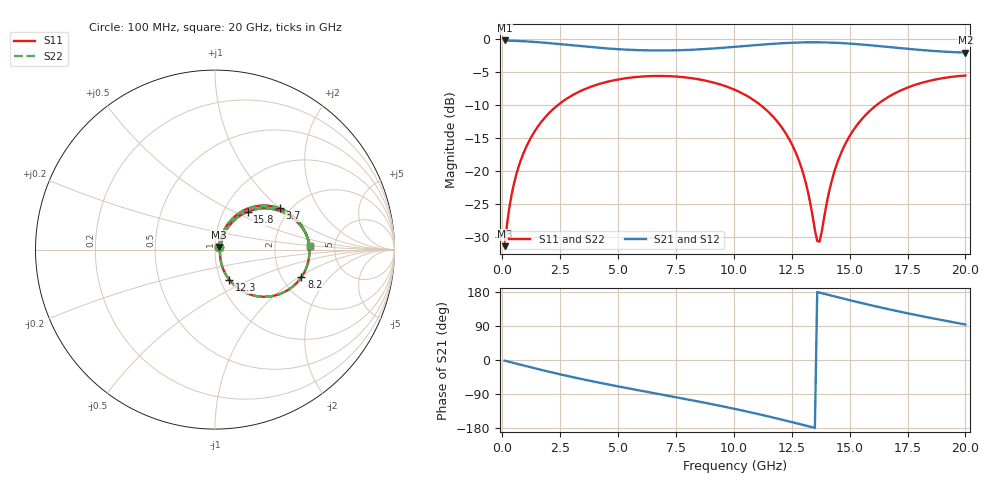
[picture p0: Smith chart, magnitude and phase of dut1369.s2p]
! Touchstone file exported from HFSS 2026.1.0
!  File:  C:/ffzhzh/LocalFiles/Ansys_Project_Files/temp_train_TSV_RDL_1369_1783345591_48288.aedt
!  Generated:  09:59:05 PM Jul  6, 2026
!  Design:  TSV_RDL
!  Project:  temp_train_TSV_RDL_1369_1783345591_48288
! Variables:
!  h_bsmrdl = 4.9um
!  h_ox = 20um
!  h_rdl = 5um
!  h_sub = 53.21um
!  h_tmrdl = 3.08um
!  h_tsv = 53.21um
!  h_via = 3um
!  l_bsmrdl = 890.9um
!  l_sub = 4665.05um
!  l_tmrdl = 369.61um
!  m_sub = 200um
!  pitch = 41.95um
!  r_tsv = 11.94um
!  s_tmrdl = 10um
!  w_bsmrdl = 14um
!  w_sub = 500um
!  w_tmrdl = 23.97um
!  x_tsv_center1 = 381.595um
!  x_tsv_center2 = 1286.495um
!  x_tsv_center3 = 1680.075um
!  x_tsv_center4 = 2584.975um
!  x_tsv_center5 = 2978.555um
!  x_tsv_center6 = 3883.455um
# GHz S MA R 50.000000
! Terminal data exported
! Port[1] = TM_RDL1_1_T1
! Port[2] = TM_RDL5_1_T1
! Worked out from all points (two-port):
!   200 points, 100 MHz to 20 GHz, reference 50 ohm
!   highest |S21| = -0.19 dB at 100 MHz (marker M1); lowest = -2.0 dB at 20 GHz (marker M2)
!   |S21| within 3 dB of the highest: start of sweep to end of sweep
!   lowest |S11| = -31.4 dB at 100 MHz (marker M3), VSWR 1.06, Z = 52.2 + j1.61 ohm
!   |S11| at or under -10 dB: start of sweep to 2.398 GHz; 11.16 GHz to 16.16 GHz (5.007 GHz wide, 36.7 % of centre)
!   |S22| runs from -31.4 to -5.5 dB; largest |S21 - S12| = 1.7e-14
!   S11 on the Smith chart (normalised r, x): 100 MHz: 1.04, +0.03; 3.7 GHz: 1.77, +1.00; 8.2 GHz: 2.55, -1.05; 12.3 GHz: 1.10, -0.38; 15.8 GHz: 1.29, +0.59; 20 GHz: 3.25, +0.16
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0.1  0.02691 34.8  0.9782 -1.7  0.9782 -1.7  0.02691 34.8
! Gamma 0 0 0 0
! Port Impedance 50 0 50 0
0.3  0.05215 58.6  0.9757 -4.9  0.9757 -4.9  0.05215 58.6
0.5  0.07967 63.9  0.9725 -8.0  0.9725 -8.0  0.07967 63.9
1.1  0.1612 63.2  0.9608 -17.3  0.9608 -17.3  0.1612 63.2
2.1  0.2842 52.3  0.9313 -32.2  0.9313 -32.2  0.2842 52.3
3.5  0.4134 34.9  0.8819 -51.2  0.8819 -51.2  0.4134 34.9
3.7  0.4275 32.5  0.8752 -53.8  0.8752 -53.8  0.4274 32.5
6.8  0.5262 -2.3  0.821 -90.3  0.821 -90.3  0.5261 -2.3
8.2  0.5054 -17.6  0.832 -106.3  0.832 -106.3  0.5054 -17.6
10.1  0.4087 -39.4  0.8767 -129.7  0.8767 -129.7  0.4086 -39.4
11.4  0.2908 -55.0  0.915 -147.5  0.915 -147.5  0.2908 -55.0
12.3  0.1857 -64.6  0.9363 -160.8  0.9363 -160.8  0.1857 -64.6
12.9  0.1084 -67.1  0.9448 -169.9  0.9448 -169.9  0.1083 -67.1
13.4  0.04564 -51.2  0.9474 -177.6  0.9474 -177.6  0.04564 -51.1
13.6  0.02949 -18.1  0.9471 179.3  0.9471 179.3  0.02954 -18.0
13.7  0.02911 8.0  0.9467 177.8  0.9467 177.8  0.02917 8.0
14.1  0.06805 55.0  0.9433 171.6  0.9433 171.6  0.0681 55.0
14.5  0.1198 60.0  0.9372 165.5  0.9372 165.5  0.1198 60.0
15.8  0.2782 49.3  0.9026 146.2  0.9026 146.2  0.2782 49.3
16.7  0.3671 38.7  0.8719 133.8  0.8719 133.8  0.3671 38.7
18.2  0.4713 21.4  0.8247 114.7  0.8247 114.7  0.4713 21.4
20  0.5302 1.9  0.792 93.7  0.792 93.7  0.5301 1.9
